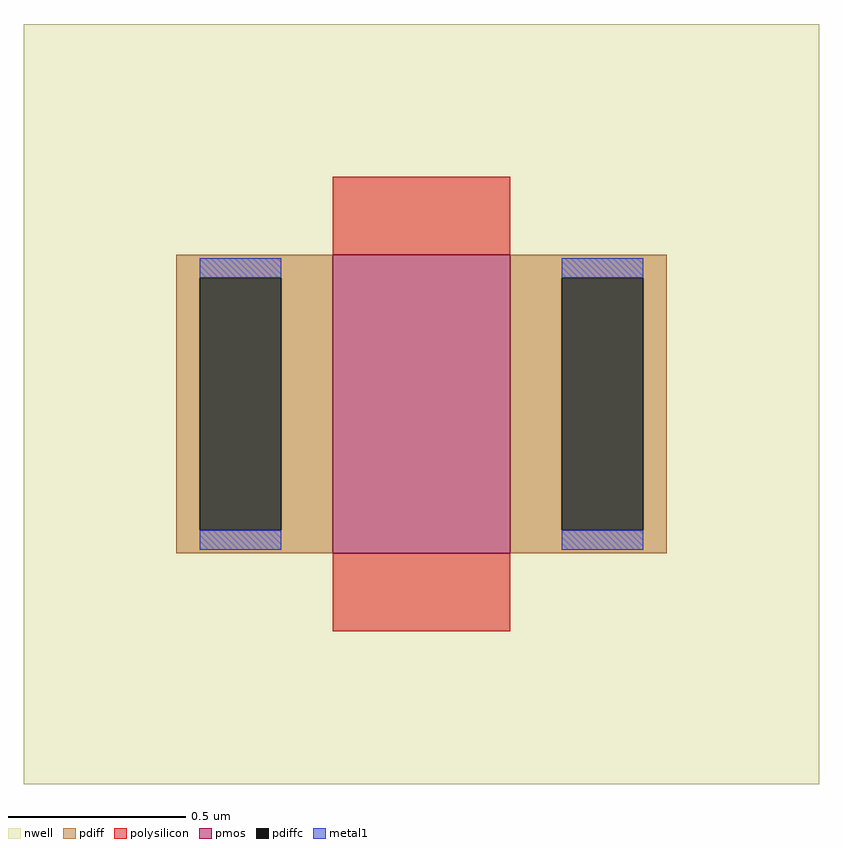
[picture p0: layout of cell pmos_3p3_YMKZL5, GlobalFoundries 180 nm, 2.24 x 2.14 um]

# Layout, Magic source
magic
tech gf180mcuC
magscale 1 10
<< nwell >>
rect -224 -214 224 214
<< pmos >>
rect -50 -84 50 84
<< pdiff >>
rect -138 71 -50 84
rect -138 -71 -125 71
rect -79 -71 -50 71
rect -138 -84 -50 -71
rect 50 71 138 84
rect 50 -71 79 71
rect 125 -71 138 71
rect 50 -84 138 -71
<< pdiffc >>
rect -125 -71 -79 71
rect 79 -71 125 71
<< polysilicon >>
rect -50 84 50 128
rect -50 -128 50 -84
<< metal1 >>
rect -125 71 -79 82
rect -125 -82 -79 -71
rect 79 71 125 82
rect 79 -82 125 -71
<< properties >>
string gencell pmos_3p3
string library gf180mcu
string parameters w 0.84 l 0.5 m 1 nf 1 diffcov 100 polycov 100 guard 0 glc 0 grc 0 gtc 0 gbc 0 tbcov 100 rlcov 100 topc 0 botc 0 poverlap 0 doverlap 1 lmin 0.28 wmin 0.22 full_metal 0 compatible {pmos_3p3 pmos_6p0}
<< end >>
